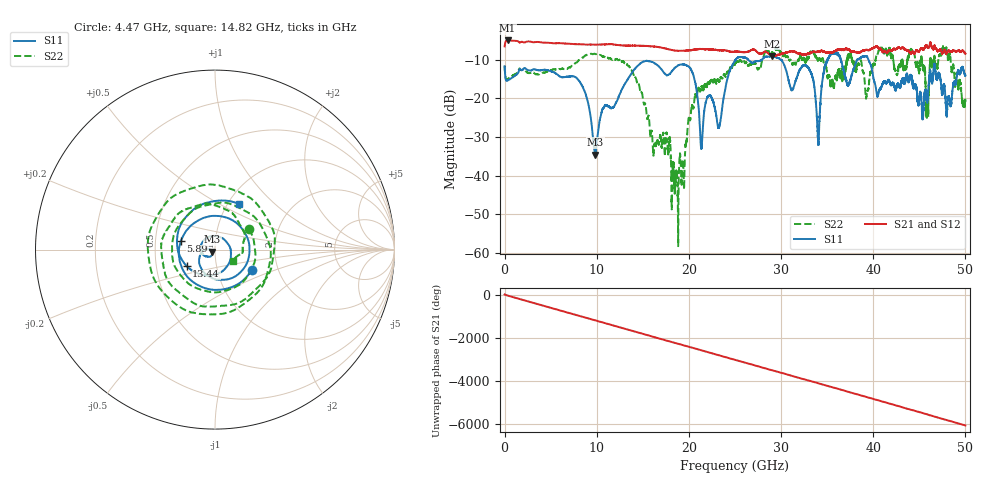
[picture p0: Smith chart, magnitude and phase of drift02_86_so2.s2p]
!Created with skrf (http://scikit-rf.org).
# Hz S RI R 50.0
!freq ReS11 ImS11 ReS21 ImS21 ReS12 ImS12 ReS22 ImS22
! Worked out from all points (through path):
!   10001 points, 300 kHz to 50 GHz, reference 50 ohm
!   highest |S21| = -5.03 dB at 325.3 MHz (marker M1); lowest = -9.0 dB at 29.01 GHz (marker M2)
!   group delay of S21, straight-line fit = 336 ps
!   lowest |S11| = -34.5 dB at 9.84 GHz (marker M3), VSWR 1.04, Z = 48.5 - j1.06 ohm
!   |S11| at or under -10 dB: start of sweep to 25.08 GHz; 29.97 GHz to 35.05 GHz (5.083 GHz wide, 15.6 % of centre); 39.48 GHz to end of sweep (the widest 3 of 10)
!   |S22| runs from -58.2 to -6.5 dB; largest |S21 - S12| = 0.023
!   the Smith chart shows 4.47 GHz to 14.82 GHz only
!   S11 on the Smith chart (normalised r, x): 4.47 GHz: 1.46, -0.35; 5.89 GHz: 0.68, +0.07; 13.44 GHz: 0.72, -0.14; 14.82 GHz: 1.13, +0.62
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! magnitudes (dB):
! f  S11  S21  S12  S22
! 300 kHz  -11.7  -6.5  -6.4  -11.6
! 325.3 MHz  -15.4  -5.0  -5.0  -15.0
! 4.47 GHz  -12.6  -5.6  -5.6  -13.2
! 5.89 GHz  -14.2  -5.7  -5.7  -12.4
! 8.335 GHz  -16.4  -6.0  -6.0  -9.6
! 9.84 GHz  -34.5  -6.1  -6.1  -8.5
! 13.44 GHz  -14.8  -6.4  -6.4  -11.6
! 14.82 GHz  -10.8  -6.4  -6.4  -18.5
! 16.67 GHz  -11.6  -6.7  -6.7  -31.4
! 18.66 GHz  -11.8  -7.7  -7.7  -39.0
! 20.37 GHz  -13.3  -7.5  -7.5  -22.0
! 21.37 GHz  -32.4  -7.2  -7.2  -16.9
! 23.31 GHz  -27.2  -7.6  -7.6  -15.6
! 25 GHz  -10.3  -7.9  -7.9  -11.3
! 29.01 GHz  -9.1  -9.0  -9.0  -8.2
! 33.34 GHz  -13.9  -8.1  -8.2  -8.0
! 34.02 GHz  -31.0  -7.9  -7.9  -10.2
! 35.52 GHz  -8.5  -8.1  -8.0  -15.6
! 41.67 GHz  -15.3  -7.6  -7.8  -7.4
! 45.86 GHz  -21.2  -6.7  -6.8  -20.9
! 47.76 GHz  -17.2  -7.5  -7.5  -7.5
! 50 GHz  -14.1  -8.4  -8.4  -19.8
